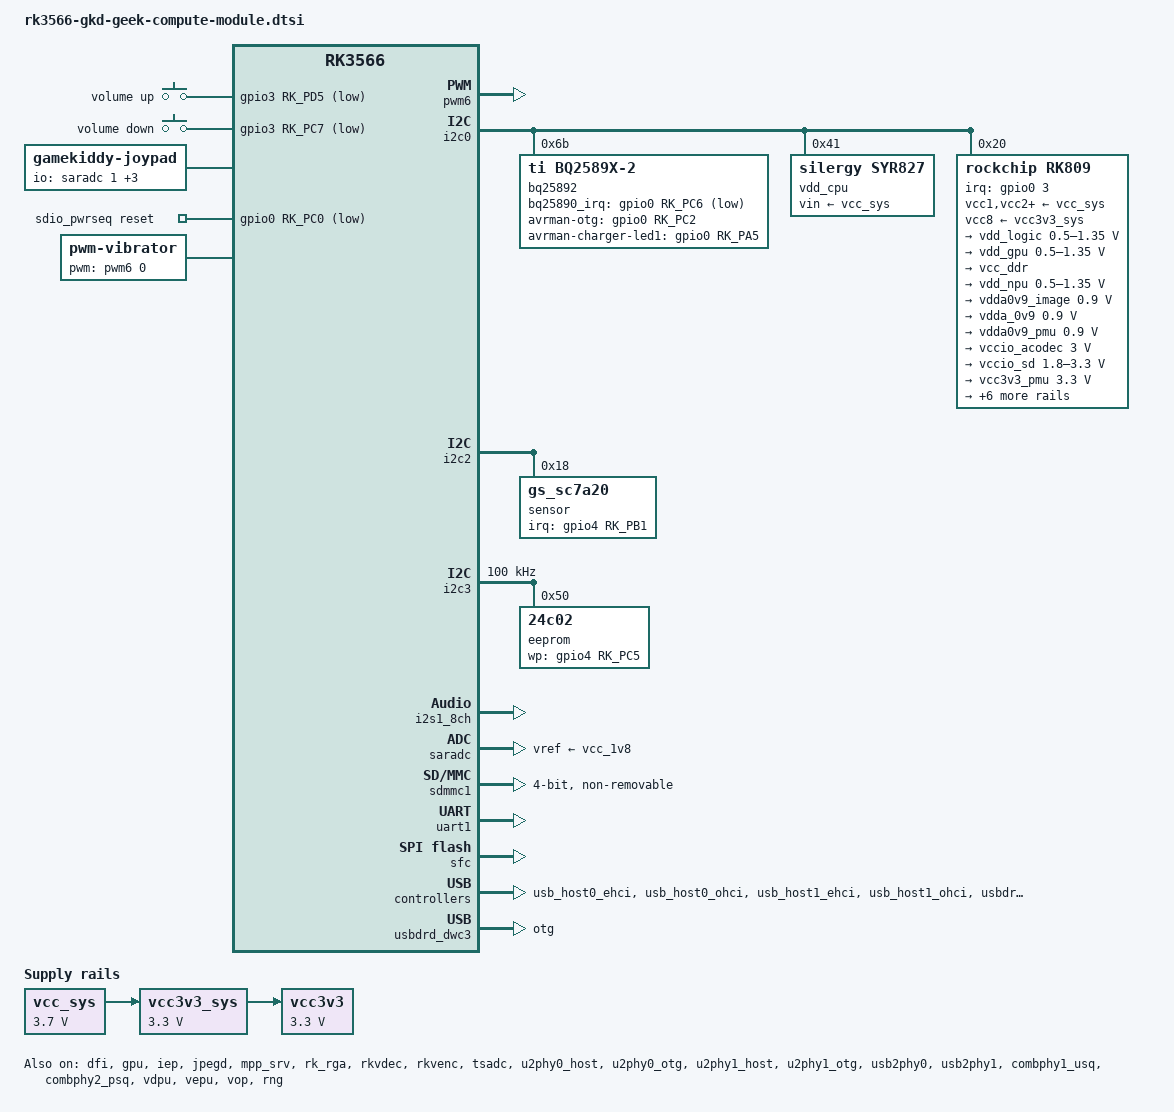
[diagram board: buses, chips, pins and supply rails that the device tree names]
// SPDX-License-Identifier: (GPL-2.0+ OR MIT)
/*
 * Copyright (c) 2020 Rockchip Electronics Co., Ltd.
 *
 */

/dts-v1/;

#include <dt-bindings/gpio/gpio.h>
#include <dt-bindings/pwm/pwm.h>
#include <dt-bindings/pinctrl/rockchip.h>
#include <dt-bindings/input/rk-input.h>
#include <dt-bindings/display/drm_mipi_dsi.h>
#include <dt-bindings/sensor-dev.h>
#include "rk3566.dtsi"

/ {
	compatible = "GameKiddy,gkd-geek", "rockchip,rk3566";

	keys: gpio-keys {
		compatible = "gpio-keys";
		pinctrl-names = "default";
		pinctrl-0 = <&volume_gpio>;
		autorepeat;
		vol-up-key {
            gpios = <&gpio3 RK_PD5 GPIO_ACTIVE_LOW>;
			linux,code = <115>;
			label = "volume up";
		};

		vol-down-key {
            gpios = <&gpio3 RK_PC7 GPIO_ACTIVE_LOW>;
			linux,code = <114>;
			label = "volume down";
		};
	
	};	


	joypad: gamekiddy-joypad {
        compatible = "gamekiddy-joypad";
 		joypad-name = "retrogame_joypad";
		joypad-product = <0x1101>;
		joypad-revision = <0x0100>;

                /*
                  - odroidgo2-joypad sysfs list -
		   * for poll device interval(ms)
		   /sys/devices/platform/odroidgo2_joypad/poll_interval [rw]
                   * for button-adc-fuzz
		   /sys/devices/platform/odroidgo2_joypad/adc_fuzz [r]
                   * for button-adc-flat
		   /sys/devices/platform/odroidgo2_joypad/adc_flat [r]

		   * for report control(1:enable, 0:disable)
		   /sys/devices/platform/odroidgo2_joypad/enable [rw]
		   * for adc calibration value setup(1:current adcs value -> cal value)
		   /sys/devices/platform/odroidgo2_joypad/adc_cal [rw]
                */

		/* gpio pincontrol setup */
                pinctrl-names = "default";
                pinctrl-0 = <&btn_pins>;

		/* JOY_X, JOY_Y Channel define */
		io-channel-names = "joy1_x", "joy1_y", "joy2_x", "joy2_y";
		io-channels = <&saradc 1>, <&saradc 0>, <&saradc 2>, <&saradc 3>;

		/* adc channel count */
		button-adc-count = <4>;

		/* adc calculate scale */
		button-adc-scale = <2>;

		/* adc deadzone range  */
		button-adc-deadzone = <20>;

		/*
		    joy-stick voltage range
		    /sys/devices/platform/ff288000.saradc/iio:device0
		    adc-x : in_voltage1_raw
		    adc-y : in_voltage2_raw

		    range calculate.
		    (adc raw max value - adc raw min value) * scale * 1.7515
		*/
		button-adc-x-range = <1800>;
		button-adc-y-range = <1800>;

		/*
		  specifies fuzz value that is used to filter noise from
		  the event stream.
		*/
		button-adc-fuzz = <32>;
		button-adc-flat = <32>;

		/* poll device interval (ms), adc read interval */
		poll-interval = <10>;

		/* gpio button auto repeat set value : default disable */
		/*
			autorepeat;
		*/

		/*
		      *** ODROIDGO2-Advance Switch layoout ***
		|------------------------------------------------|
		| sw15                                      sw16 |
		|        sw20                         sw21       |
		|------------------------------------------------|
		|     sw1      |-------------------|      sw8    |
		|  sw3   sw4   |                   |   sw7   sw5 |
		|     sw2      |    LCD Display    |      sw6    |
		|              |                   |             |
		|              |-------------------|             |
		|         sw9 sw10   sw11 sw12   sw13 sw14       |
		|------------------------------------------------|
		*/
                /*
                    joypad driver is poll-device driver.
                    poll-device is does not support wakeup-source.
		*/

                sw1 {
                        gpios = <&gpio3 RK_PD6 GPIO_ACTIVE_LOW>;
                        label = "GPIO DPAD-UP";
                        linux,code = <BTN_DPAD_UP>; // 0x220
                };
                sw2 {
                        gpios = <&gpio3 RK_PD7 GPIO_ACTIVE_LOW>;
                        label = "GPIO DPAD-DOWN";
                        linux,code = <BTN_DPAD_DOWN>; // 0x221
                };
                sw3 {
                        gpios = <&gpio4 RK_PA0 GPIO_ACTIVE_LOW>;
                        label = "GPIO DPAD-LEFT";
                        linux,code = <BTN_DPAD_LEFT>; // 0x222
                };
                sw4 {
                        gpios = <&gpio4 RK_PA5 GPIO_ACTIVE_LOW>;
                        label = "GPIO DPAD-RIGHT";
                        linux,code = <BTN_DPAD_RIGHT>; // 0x223
                };
                sw5 {
                        gpios = <&gpio4 RK_PA7 GPIO_ACTIVE_LOW>;
                        label = "GPIO KEY BTN-A";
                        linux,code = <BTN_EAST>; // 0x131
                };
                sw6 {
                        gpios = <&gpio4 RK_PA4 GPIO_ACTIVE_LOW>;
                        label = "GPIO BTN-B";
                        linux,code = <BTN_SOUTH>; // 0x130
                };
                sw7 {
                        gpios = <&gpio4 RK_PA1 GPIO_ACTIVE_LOW>;
                        label = "GPIO BTN-Y";
                        linux,code = <BTN_WEST>; // 0x134
                };
                sw8 {
                        gpios = <&gpio3 RK_PD4 GPIO_ACTIVE_LOW>;
                        label = "GPIO BTN-X";
                        linux,code = <BTN_NORTH>; // 0x133
                };

                sw9 {
                        gpios = <&gpio4 RK_PB0 GPIO_ACTIVE_LOW>;
                        label = "GPIO F1";
                        linux,code = <BTN_TRIGGER_HAPPY1>; // 0x2c0
                };

                sw10 {
                        gpios = <&gpio4 RK_PB6 GPIO_ACTIVE_LOW>;
                        label = "GPIO BTN_F";
                        linux,code = <BTN_MODE>; // 0x2c1
                };

                sw11 {
                        gpios = <&gpio3 RK_PD3 GPIO_ACTIVE_LOW>;
                        label = "GPIO BTN_SELECT";
                        linux,code = <BTN_SELECT>; // 0x2c2
                };

                sw12 {
                        gpios = <&gpio4 RK_PA2 GPIO_ACTIVE_LOW>;
                        label = "GPIO BTN_START";
                        linux,code = <BTN_START>; // 0x2c3
                };

                sw15 {
                        gpios = <&gpio4 RK_PA3 GPIO_ACTIVE_LOW>;
                        label = "GPIO TOP-LEFT";
                        linux,code = <BTN_TL>; // 0x02
                };
                sw16 {
                        gpios = <&gpio4 RK_PC0 GPIO_ACTIVE_LOW>;
                        label = "GPIO TOP-RIGHT";
                        linux,code = <BTN_TR>; // 0x05
                };
                sw20 {
                        gpios = <&gpio4 RK_PA6 GPIO_ACTIVE_LOW>;
                        label = "GPIO TOP-LEFT2";
                        linux,code = <BTN_TL2>;	//
                };
                sw21 {
                        gpios = <&gpio4 RK_PC1 GPIO_ACTIVE_LOW>;
                        label = "GPIO TOP-RIGHT2";
                        linux,code = <BTN_TR2>;	//
                };

                sw22 {
                        gpios = <&gpio4 RK_PB7 GPIO_ACTIVE_LOW>;
                        label = "GPIO BTN_THUMBR";
                        linux,code = <BTN_THUMBR>;
                };

                sw23 {
                        gpios = <&gpio3 RK_PD0 GPIO_ACTIVE_LOW>;
                        label = "GPIO BTN_THUMBL";
                        linux,code = <BTN_THUMBL>;
                };
        };

	fiq_debugger: fiq-debugger {
		compatible = "rockchip,fiq-debugger";
		rockchip,serial-id = <2>;
		rockchip,wake-irq = <0>;
		/* If enable uart uses irq instead of fiq */
		rockchip,irq-mode-enable = <1>;
		rockchip,baudrate = <1500000>;  /* Only 115200 and 1500000 */
		interrupts = <GIC_SPI 252 IRQ_TYPE_LEVEL_LOW>;
		pinctrl-names = "default";
		pinctrl-0 = <&uart2m0_xfer>;
		status = "okay";
	};

	debug: debug@fd904000 {
		compatible = "rockchip,debug";
		reg = <0x0 0xfd904000 0x0 0x1000>,
			<0x0 0xfd905000 0x0 0x1000>,
			<0x0 0xfd906000 0x0 0x1000>,
			<0x0 0xfd907000 0x0 0x1000>;
	};

	cspmu: cspmu@fd90c000 {
		compatible = "rockchip,cspmu";
		reg = <0x0 0xfd90c000 0x0 0x1000>,
			<0x0 0xfd90d000 0x0 0x1000>,
			<0x0 0xfd90e000 0x0 0x1000>,
			<0x0 0xfd90f000 0x0 0x1000>;
	};

	reserved_memory: reserved-memory {
		#address-cells = <2>;
		#size-cells = <2>;
		ranges;

		rknpu_reserved: rknpu {
			compatible = "shared-dma-pool";
			inactive;
			reusable;
			size = <0x0 0x1000000>;
			alignment = <0x0 0x1000>;
		};
	};

#ifndef avrmanhdmi
	rk809_sound: rk809-sound {
		status = "okay";
		compatible = "simple-audio-card";
		simple-audio-card,format = "i2s";
		simple-audio-card,name = "rockchip,rk817-codec";
		simple-audio-card,mclk-fs = <256>;

		simple-audio-card,cpu {
			sound-dai = <&i2s1_8ch>;
		};
		simple-audio-card,codec {
			sound-dai = <&rk809_codec>;
		};
	};
#endif

	vcc_sys: vcc-sys {
		compatible = "regulator-fixed";
		regulator-name = "vcc_sys";
		regulator-always-on;
		regulator-boot-on;
		regulator-min-microvolt = <3700000>;
		regulator-max-microvolt = <3700000>;
	};

	vcc3v3_sys: vcc3v3-sys {
		compatible = "regulator-fixed";
		regulator-name = "vcc3v3_sys";
		regulator-always-on;
		regulator-boot-on;
		regulator-min-microvolt = <3300000>;
		regulator-max-microvolt = <3300000>;
		vin-supply = <&vcc_sys>;
	};

	vcc3v3: vcc-3v3 {
		compatible = "regulator-fixed";
		regulator-name = "vcc3v3";
		regulator-always-on;
		regulator-boot-on;
		regulator-min-microvolt = <3300000>;
		regulator-max-microvolt = <3300000>;
		vin-supply = <&vcc3v3_sys>;
		regulator-state-mem {
			regulator-off-in-suspend;
		};
	};

	sdio_pwrseq: sdio-pwrseq {
		compatible = "mmc-pwrseq-simple";
		clocks = <&rk809 1>;
		clock-names = "ext_clock";
		pinctrl-names = "default";
		pinctrl-0 = <&wifi_enable_h>;

		/*
		 * On the module itself this is one of these (depending
		 * on the actual card populated):
		 * - SDIO_RESET_L_WL_REG_ON
		 * - PDN (power down when low)
		 */
		reset-gpios = <&gpio0 RK_PC0 GPIO_ACTIVE_LOW>;
	};


	vibrator {
		compatible = "pwm-vibrator";
		pwms = <&pwm6 0 1000000 0>;
		pwm-names = "enable";
		direction-duty-cycle-ns = <1000000>;
	};

};

&pwm6 {
	status = "okay";
	pinctrl-0 = <&pwm6_pins>;
};

&cpu0 {
	cpu-supply = <&vdd_cpu>;
};

&dfi {
	status = "okay";
};

&dmc {
	center-supply = <&vdd_logic>;
	status = "disabled";
};

&gpu {
	mali-supply = <&vdd_gpu>;
	status = "okay";
};

&pmu_io_domains {
	status = "okay";
	pmuio1-supply = <&vcc3v3_pmu>;
	pmuio2-supply = <&vcc3v3_pmu>;
	vccio1-supply = <&vccio_acodec>;
	vccio2-supply = <&vcc3v3>;
	vccio3-supply = <&vccio_sd>;
	vccio4-supply = <&vcc_1v8>;
	vccio5-supply = <&vccio_sd2>;
	vccio6-supply = <&vcc_1v8>;
	vccio7-supply = <&vcc3v3>;
};

&i2c0 {
	status = "okay";

        bq25892@6B{
		compatible = "ti,bq2589x-2";
		reg = <0x6b>;
		ti,bq2589x,vbus-volt-high-level = <8700>;/* tune adapter to output 9v */
		ti,bq2589x,vbus-volt-low-level = <4400>;/* tune adapter to output 5v */
		ti,bq2589x,vbat-min-volt-to-tuneup = <3000>;
		ti,bq2589x,charge-voltage = <4208>;	//4208	4336	4320
		ti,bq2589x,charge-current = <2000>;
		ti,bq2589x,term-current = <256>;

		pinctrl-names = "default";
		pinctrl-0 = <&bq25890_otg_en>;
		bq25890_irq-gpio = <&gpio0 RK_PC6 GPIO_ACTIVE_LOW>;

		avrman-otg-gpio = <&gpio0 RK_PC2 GPIO_ACTIVE_HIGH>;
		avrman-charger-led1-gpio = <&gpio0 RK_PA5 GPIO_ACTIVE_HIGH>;

		ti,bq2589x,enable-auto-dpdm;
		ti,bq2589x,enable-termination;
		ti,bq2589x,enable-ico;
		ti,bq2589x,use-absolute-vindpm;
        };

 	vdd_cpu: rk860x@41 {
		status = "okay";
		compatible = "silergy,syr827";
		reg = <0x41>;
		vin-supply = <&vcc_sys>;
		regulator-compatible = "fan53555-reg";
		regulator-name = "vdd_cpu";
		regulator-min-microvolt = <712500>;
		regulator-max-microvolt = <1390000>;
		regulator-init-microvolt = <1000000>;
		regulator-ramp-delay = <2300>;
		fcs,suspend-voltage-selector = <1>;
		regulator-boot-on;
		regulator-always-on;
		regulator-state-mem {
			regulator-off-in-suspend;
		};
	};

	rk809: pmic@20 {
		compatible = "rockchip,rk809";
		reg = <0x20>;
		interrupt-parent = <&gpio0>;
		interrupts = <3 IRQ_TYPE_LEVEL_LOW>;

		pinctrl-names = "default", "pmic-sleep",
				"pmic-power-off", "pmic-reset";
		pinctrl-0 = <&pmic_int>;
		pinctrl-1 = <&soc_slppin_slp>, <&rk817_slppin_slp>;
		pinctrl-2 = <&soc_slppin_gpio>, <&rk817_slppin_pwrdn>;
		pinctrl-3 = <&soc_slppin_gpio>, <&rk817_slppin_rst>;

		rockchip,system-power-controller;
		wakeup-source;
		#clock-cells = <1>;
		clock-output-names = "rk808-clkout1", "rk808-clkout2";
		//fb-inner-reg-idxs = <2>;
		/* 1: rst regs (default in codes), 0: rst the pmic */
		pmic-reset-func = <1>;

		vcc1-supply = <&vcc_sys>;
		vcc2-supply = <&vcc_sys>;
		vcc3-supply = <&vcc_sys>;
		vcc4-supply = <&vcc_sys>;
		vcc5-supply = <&vcc_sys>;
		vcc6-supply = <&vcc_sys>;
		vcc7-supply = <&vcc_sys>;
		vcc8-supply = <&vcc3v3_sys>;
		vcc9-supply = <&vcc_sys>;

		pwrkey {
			status = "okay";
		};

		pinctrl_rk8xx: pinctrl_rk8xx {
			gpio-controller;
			#gpio-cells = <2>;

			rk817_slppin_null: rk817_slppin_null {
				pins = "gpio_slp";
				function = "pin_fun0";
			};

			rk817_slppin_slp: rk817_slppin_slp {
				pins = "gpio_slp";
				function = "pin_fun1";
			};

			rk817_slppin_pwrdn: rk817_slppin_pwrdn {
				pins = "gpio_slp";
				function = "pin_fun2";
			};

			rk817_slppin_rst: rk817_slppin_rst {
				pins = "gpio_slp";
				function = "pin_fun3";
			};
		};

		regulators {
			vdd_logic: DCDC_REG1 {
				regulator-always-on;
				regulator-boot-on;
				regulator-min-microvolt = <500000>;
				regulator-max-microvolt = <1350000>;
				regulator-init-microvolt = <900000>;
				regulator-ramp-delay = <6001>;
				regulator-initial-mode = <0x2>;
				regulator-name = "vdd_logic";
				regulator-state-mem {
					regulator-on-in-suspend;
				};
			};

			vdd_gpu: DCDC_REG2 {
				regulator-always-on;
				regulator-boot-on;
				regulator-min-microvolt = <500000>;
				regulator-max-microvolt = <1350000>;
				regulator-init-microvolt = <900000>;
				regulator-ramp-delay = <6001>;
				regulator-initial-mode = <0x2>;
				regulator-name = "vdd_gpu";
				regulator-state-mem {
					regulator-on-in-suspend;
				};
			};

			vcc_ddr: DCDC_REG3 {
				regulator-always-on;
				regulator-boot-on;
				regulator-initial-mode = <0x2>;
				regulator-name = "vcc_ddr";
				regulator-state-mem {
					regulator-on-in-suspend;
				};
			};

			vdd_npu: DCDC_REG4 {
				regulator-always-on;
				regulator-boot-on;
				regulator-min-microvolt = <500000>;
				regulator-max-microvolt = <1350000>;
				regulator-init-microvolt = <900000>;
				regulator-ramp-delay = <6001>;
				regulator-initial-mode = <0x2>;
				regulator-name = "vdd_npu";
				regulator-state-mem {
					regulator-off-in-suspend;
				};
			};

			vdda0v9_image: LDO_REG1 {
				regulator-boot-on;
				regulator-always-on;
				regulator-min-microvolt = <900000>;
				regulator-max-microvolt = <900000>;
				regulator-name = "vdda0v9_image";
				regulator-state-mem {
					regulator-on-in-suspend;
				};
			};

			vdda_0v9: LDO_REG2 {
				regulator-always-on;
				regulator-boot-on;
				regulator-min-microvolt = <900000>;
				regulator-max-microvolt = <900000>;
				regulator-name = "vdda_0v9";
				regulator-state-mem {
					regulator-on-in-suspend;
				};
			};

			vdda0v9_pmu: LDO_REG3 {
				regulator-always-on;
				regulator-boot-on;
				regulator-min-microvolt = <900000>;
				regulator-max-microvolt = <900000>;
				regulator-name = "vdda0v9_pmu";
				regulator-state-mem {
					regulator-on-in-suspend;
					regulator-suspend-microvolt = <900000>;
				};
			};

			vccio_acodec: LDO_REG4 {
				regulator-always-on;
				regulator-boot-on;
				regulator-min-microvolt = <3000000>;
				regulator-max-microvolt = <3000000>;
				regulator-name = "vccio_acodec";
				regulator-state-mem {
					regulator-on-in-suspend;
				};
			};

			vccio_sd: LDO_REG5 {
				regulator-always-on;
				regulator-boot-on;
				regulator-min-microvolt = <1800000>;
				regulator-max-microvolt = <3300000>;
				regulator-name = "vccio_sd";
				regulator-state-mem {
					regulator-on-in-suspend;
				};
			};

			vcc3v3_pmu: LDO_REG6 {
				regulator-always-on;
				regulator-boot-on;
				regulator-min-microvolt = <3300000>;
				regulator-max-microvolt = <3300000>;
				regulator-name = "vcc3v3_pmu";
				regulator-state-mem {
					regulator-on-in-suspend;
					regulator-suspend-microvolt = <3300000>;
				};
			};

			vcca_1v8: LDO_REG7 {
				regulator-always-on;
				regulator-boot-on;
				regulator-min-microvolt = <1800000>;
				regulator-max-microvolt = <1800000>;
				regulator-name = "vcca_1v8";
				regulator-state-mem {
					regulator-on-in-suspend;
				};
			};

			vcca1v8_pmu: LDO_REG8 {
				regulator-always-on;
				regulator-boot-on;
				regulator-min-microvolt = <1800000>;
				regulator-max-microvolt = <1800000>;
				regulator-name = "vcca1v8_pmu";
				regulator-state-mem {
					regulator-on-in-suspend;
					regulator-suspend-microvolt = <1800000>;
				};
			};

			vccio_sd2: LDO_REG9 {
				regulator-always-on;
				regulator-boot-on;
				regulator-min-microvolt = <1800000>;
				regulator-max-microvolt = <3300000>;
				regulator-name = "vccio_sd2";
				regulator-state-mem {
					regulator-on-in-suspend;
				};
			};

			vcc_1v8: DCDC_REG5 {
				regulator-always-on;
				regulator-boot-on;
				regulator-min-microvolt = <1800000>;
				regulator-max-microvolt = <1800000>;
				regulator-name = "vcc_1v8";
				regulator-state-mem {
					regulator-on-in-suspend;
				};
			};

			VCC_SPK_HP: SWITCH_REG1 {
				regulator-always-on;
				regulator-boot-on;
				regulator-name = "VCC_SPK_HP";
				regulator-state-mem {
					regulator-on-in-suspend;
				};
			};

			vcc3v3_sd: SWITCH_REG2 {
				regulator-always-on;
				regulator-boot-on;
				regulator-name = "vcc3v3_sd";
				regulator-state-mem {
					regulator-on-in-suspend;

				};
			};
		};

		battery {
			compatible = "rk817,battery";

			ocv_table = <3547 3680 3692 3718 3739 3759 3775
				3783 3797 3805 3822 3842 3871 3916
				3945 3975 4004 4048 4085 4128 4174>;

			/* blue tai yang Battery Spec */
			design_capacity = <4000>;
			design_qmax = <4400>;
			bat_res = <150>;
			sleep_enter_current = <300>;
			sleep_exit_current = <300>;
			sleep_filter_current = <100>;
			power_off_thresd = <3400>;
			zero_algorithm_vol = <3850>;
			max_soc_offset = <10>;
			monitor_sec = <5>;
			virtual_power = <0>;
			sample_res = <10>;
			bat_res_up = <60>;
			bat_res_down = <20>;
		};


		rk809_codec: codec {
			#sound-dai-cells = <0>;
			compatible = "rockchip,rk809-codec", "rockchip,rk817-codec";
			clocks = <&cru I2S1_MCLKOUT>;
			clock-names = "mclk";
			assigned-clocks = <&cru I2S1_MCLKOUT>, <&cru I2S1_MCLK_TX_IOE>;
			assigned-clock-rates = <12288000>;
			assigned-clock-parents = <&cru I2S1_MCLKOUT_TX>, <&cru I2S1_MCLKOUT_TX>;
			pinctrl-names = "default";
			pinctrl-0 = <&i2s1m0_mclk>;

			avrman-spk-con-gpio = <&gpio0 RK_PA6 GPIO_ACTIVE_HIGH>;
			avrman-hp-det-gpio =  <&gpio4 RK_PC6 GPIO_ACTIVE_HIGH>;

			hp-volume = <20>;
			spk-volume = <3>;
			mic-in-differential;
			status = "okay";
		};

	};
};

&i2c2 {
	status = "okay";
	pinctrl-names = "default";
	pinctrl-0 = <&i2c2m1_xfer>;

	sensor@18 {
		compatible = "gs_sc7a20";
		reg = <0x18>;
		type = <SENSOR_TYPE_ACCEL>;
		irq_enable = <0>;
		pinctrl-names = "default";
		pinctrl-0 = <&sensor_gpio>;
		irq-gpio = <&gpio4 RK_PB1 IRQ_TYPE_EDGE_RISING>;
		poll_delay_ms = <10>;
		layout = <1>;
		status = "okay";
	};

};

&i2c3 {
	clock-frequency = <100000>;
	status = "okay";
	pinctrl-names = "default";
	pinctrl-0 = <&i2c3m0_xfer>;

	eeprom@50 {
		compatible = "24c02";
		reg = <0x50>;
		status = "okay";
		pinctrl-names = "default";
		pinctrl-0 = <&eeprom_wp_gpio>;
		wp-gpio = <&gpio4 RK_PC5 GPIO_ACTIVE_HIGH>;
	};
};

&i2s1_8ch {
	status = "okay";
	rockchip,clk-trcm = <1>;
	pinctrl-names = "default";
	pinctrl-0 = <&i2s1m0_sclktx
		     &i2s1m0_lrcktx
		     &i2s1m0_sdi0
		     &i2s1m0_sdo0>;
};

&iep {
	status = "okay";
};

&iep_mmu {
	status = "okay";
};

&jpegd {
	status = "okay";
};

&jpegd_mmu {
	status = "okay";
};

&mpp_srv {
	status = "okay";
};

&rk_rga {
	status = "okay";
};

&rkvdec {
	status = "okay";
};

&rkvdec_mmu {
	status = "okay";
};

&rkvenc {
	status = "okay";
};

&rkvenc_mmu {
	status = "okay";
};

&bus_npu {
	bus-supply = <&vdd_logic>;
	pvtm-supply = <&vdd_cpu>;
	status = "disabled";
};

&rknpu {
	memory-region = <&rknpu_reserved>;
	rknpu-supply = <&vdd_gpu>;
	status = "disabled";
};

&rknpu_mmu {
	status = "disabled";
};

&saradc {
	status = "okay";
	vref-supply = <&vcc_1v8>;
};

&sdmmc1 {
	max-frequency=<150000000>;
	supports-sdio;
	bus-width = <4>;
	disable-wp;
	cap-sd-highspeed;
	cap-sdio-irq;
	keep-power-in-suspend;
	non-removable;
	rockchip,default-sample-phase=<90>;
	mmc-pwrseq = <&sdio_pwrseq>;
	non-removable;
	pinctrl-names = "default";
	pinctrl-0 = <&sdmmc1_bus4 &sdmmc1_cmd &sdmmc1_clk>;
	sd-uhs-sdr50;
	status = "okay";
};

&uart1 {
	status = "okay";
	pinctrl-names = "default";
	pinctrl-0 = <&uart1m0_xfer &uart1m0_ctsn>;
};


&sfc {
	status = "okay";
};

&tsadc {
	status = "okay";
};

&u2phy0_host {
	status = "okay";
};

&u2phy0_otg {
	status = "okay";
};

&u2phy1_host {
	status = "okay";
};

&u2phy1_otg {
	status = "okay";
};

&usb2phy0 {
	status = "okay";
};

&usb2phy1 {
	status = "okay";
};

&usb_host0_ehci {
	status = "okay";
};

&usb_host0_ohci {
	status = "okay";
};

&usb_host1_ehci {
	status = "okay";
};

&usb_host1_ohci {
	status = "okay";
};

&usbdrd_dwc3 {
	dr_mode = "otg";
	extcon = <&usb2phy0>;
	status = "okay";
};

&usbdrd30 {
	status = "okay";
};

&usbhost_dwc3 {
	status = "disabled";
};

&usbhost30 {
	status = "disabled";
};

&combphy1_usq {
	status = "okay";
};

&combphy2_psq {
	status = "okay";
};

&vdpu {
	status = "okay";
};

&vdpu_mmu {
	status = "okay";
};

&vepu {
	status = "okay";
};

&vepu_mmu {
	status = "okay";
};

&vop {
	status = "okay";
	assigned-clocks = <&cru DCLK_VOP0>, <&cru DCLK_VOP1>;
	assigned-clock-parents = <&pmucru PLL_HPLL>, <&cru PLL_VPLL>;
};

&vop_mmu {
	status = "okay";
};

&reserved_memory {
	ramoops: ramoops@110000 {
		compatible = "ramoops";
		reg = <0x0 0x110000 0x0 0xf0000>;
		record-size = <0x20000>;
		console-size = <0x80000>;
		ftrace-size = <0x00000>;
		pmsg-size = <0x50000>;
	};
};

&rng {
	status = "okay";
};

&rockchip_suspend {
	rockchip,sleep-debug-en = <0>;
	status = "okay";
};

&pinctrl {

	pmic {
		pmic_int: pmic_int {
			rockchip,pins =
				<0 RK_PA3 RK_FUNC_GPIO &pcfg_pull_up>;
		};

		soc_slppin_gpio: soc_slppin_gpio {
			rockchip,pins =
				<0 RK_PA2 RK_FUNC_GPIO &pcfg_output_low_pull_down>;
		};

		soc_slppin_slp: soc_slppin_slp {
			rockchip,pins =
				<0 RK_PA2 RK_FUNC_1 &pcfg_pull_up>;
		};

		soc_slppin_rst: soc_slppin_rst {
			rockchip,pins =
				<0 RK_PA2 RK_FUNC_2 &pcfg_pull_none>;
		};
	};


	btns {
		btn_pins: btn-pins {
			rockchip,pins = <3 RK_PD6 RK_FUNC_GPIO &pcfg_pull_up>, /* up */
					<3 RK_PD7 RK_FUNC_GPIO &pcfg_pull_up>, /* down */
					<4 RK_PA0 RK_FUNC_GPIO &pcfg_pull_up>, /* left */
					<4 RK_PA5 RK_FUNC_GPIO &pcfg_pull_up>, /* right */

					<4 RK_PA7 RK_FUNC_GPIO &pcfg_pull_up>, /* a */
					<4 RK_PA4 RK_FUNC_GPIO &pcfg_pull_up>, /* b */
					<3 RK_PD4 RK_FUNC_GPIO &pcfg_pull_up>, /* x */
					<4 RK_PA1 RK_FUNC_GPIO &pcfg_pull_up>, /* y */

					<4 RK_PB0 RK_FUNC_GPIO &pcfg_pull_up>, /* menu */
					<4 RK_PB6 RK_FUNC_GPIO &pcfg_pull_up>, /* back exit */

					<3 RK_PD3 RK_FUNC_GPIO &pcfg_pull_up>, /* sel*/
					<4 RK_PA2 RK_FUNC_GPIO &pcfg_pull_up>, /* sta */

					<3 RK_PD0 RK_FUNC_GPIO &pcfg_pull_up>, /* s16  up joy1 */
					<4 RK_PB7 RK_FUNC_GPIO &pcfg_pull_up>, /* s17 down joy2 */

					<4 RK_PA3 RK_FUNC_GPIO &pcfg_pull_up>, /* l1 */
					<4 RK_PA6 RK_FUNC_GPIO &pcfg_pull_up>, /* l2 */
					<4 RK_PC0 RK_FUNC_GPIO &pcfg_pull_up>, /* r1 */
					<4 RK_PC1 RK_FUNC_GPIO &pcfg_pull_up>; /* r2 */
		};
	};
	keys {
		volume_gpio: volume-gpio {
			rockchip,pins = <3 RK_PC7 RK_FUNC_GPIO &pcfg_pull_up>, /* vol+ */
					<3 RK_PD5 RK_FUNC_GPIO &pcfg_pull_up>; /* vol- */
		};
	};
	
	sdio-pwrseq {
		wifi_enable_h: wifi-enable-h {
			rockchip,pins = <0 RK_PC0 RK_FUNC_GPIO &pcfg_pull_none>;
		};
	};

	wireless-wlan {
		wifi_host_wake_irq: wifi-host-wake-irq {
			rockchip,pins = <0 RK_PC4 RK_FUNC_GPIO &pcfg_pull_down>;
		};
	};

	wireless-bluetooth {
		uart1_gpios: uart1-gpios {
			rockchip,pins = <2 RK_PB5 RK_FUNC_GPIO &pcfg_pull_none>;
		};
	};


	sensor {
		sensor_gpio: sensor-gpio {
			rockchip,pins = <4 RK_PB1 RK_FUNC_GPIO &pcfg_pull_none>;
		};
	};

	eeprom {
		eeprom_wp_gpio: eeprom-wp-gpio {
			rockchip,pins = <4 RK_PC5 RK_FUNC_GPIO &pcfg_pull_none>;
		};
	};

	usb {

		bq25890_otg_en: bq25890-otg-en {
			rockchip,pins = <0 RK_PC6 RK_FUNC_GPIO &pcfg_pull_none>,
				        <0 RK_PC2 RK_FUNC_GPIO &pcfg_pull_none>;
		};
	};

};
